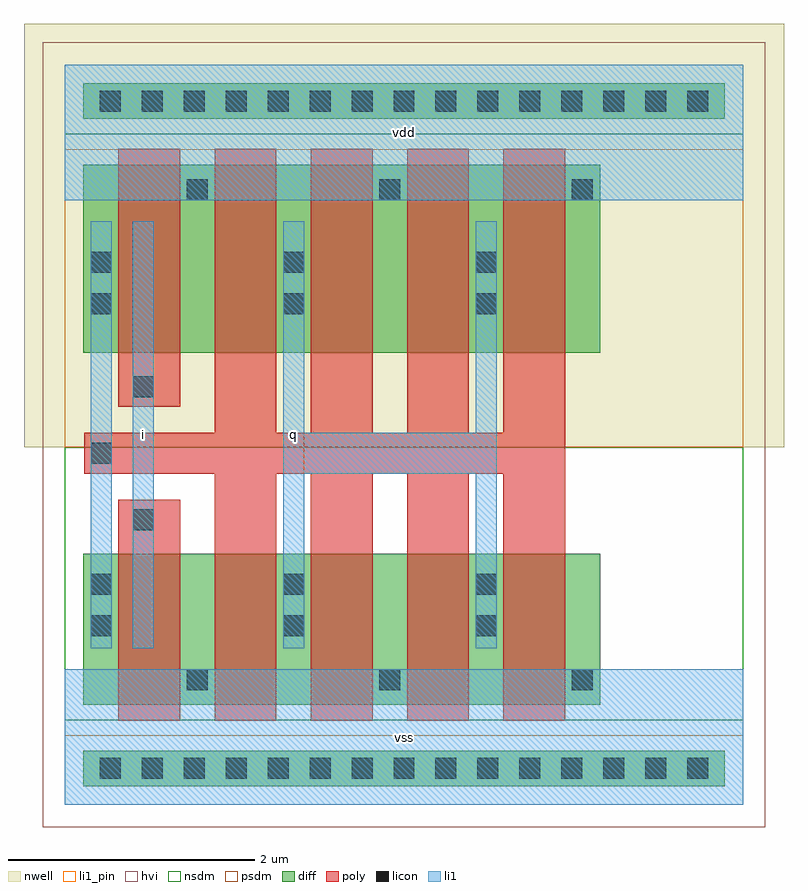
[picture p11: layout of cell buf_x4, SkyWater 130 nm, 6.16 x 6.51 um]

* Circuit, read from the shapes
.subckt buf_x4 i q vdd vss
XM1 vss i n1 VSUBS sky130_fd_pr__nfet_g5v0d10v5 w=1.225 l=0.5
XM2 q n1 vss VSUBS sky130_fd_pr__nfet_g5v0d10v5 w=1.225 l=0.5 m=4
XM3 vdd i n1 n2 sky130_fd_pr__pfet_g5v0d10v5 w=1.525 l=0.5
XM4 q n1 vdd n2 sky130_fd_pr__pfet_g5v0d10v5 w=1.525 l=0.5 m=4
.ends

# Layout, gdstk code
import gdstk
lib = gdstk.Library(unit=1e-6, precision=1e-09)
def R(c, l, rs):  # rectangles x0, y0, x1, y1
    for r in rs: c.add(gdstk.rectangle(r[:2], r[2:], *l))
def A(c, l, x, y, w, h, nx, ny, dx, dy):  # array of equal rectangles
    R(c, l, [(x+i*dx, y+j*dy, x+i*dx+w, y+j*dy+h) for i in range(nx) for j in range(ny)])
def P(c, l, *ps):  # polygons
    for p in ps: c.add(gdstk.Polygon(p, *l))
nwell = (64, 20)
diff = (65, 20)
poly = (66, 20)
licon = (66, 44)
li1_pin = (67, 16)
li1 = (67, 20)
hvi = (75, 20)
nsdm = (93, 44)
psdm = (94, 20)

buf_x4 = lib.new_cell('buf_x4')
R(buf_x4, nwell, [(-0.33,2.9,5.83,6.33)])
R(buf_x4, diff, [(0.15,0.15,5.35,0.44), (0.15,0.81,4.34,2.035), (0.15,3.665,4.34,5.19), (0.15,5.56,5.35,5.85)])
R(buf_x4, poly, [(0.435,0.68,0.935,2.475), (0.435,3.225,0.935,5.32)])
P(buf_x4, poly, [(1.215,0.68),(1.215,2.685),(0.16,2.685),(0.16,3.015),(1.215,3.015),(1.215,5.32),(1.715,5.32),(1.715,3.015),(1.995,3.015),(1.995,5.32),(2.495,5.32),(2.495,3.015),(2.775,3.015),(2.775,5.32),(3.275,5.32),(3.275,3.015),(3.555,3.015),(3.555,5.32),(4.055,5.32),(4.055,0.68),(3.555,0.68),(3.555,2.685),(3.275,2.685),(3.275,0.68),(2.775,0.68),(2.775,2.685),(2.495,2.685),(2.495,0.68),(1.995,0.68),(1.995,2.685),(1.715,2.685),(1.715,0.68)])
A(buf_x4, licon, 0.285, 0.21, 0.17, 0.17, 15, 2, 0.34, 5.41)
A(buf_x4, licon, 0.99, 0.93, 0.17, 0.17, 3, 2, 1.56, 3.97)
A(buf_x4, licon, 0.21, 1.365, 0.17, 0.17, 3, 2, 1.56, 0.34)
A(buf_x4, licon, 0.21, 3.975, 0.17, 0.17, 3, 2, 1.56, 0.34)
R(buf_x4, licon, [(0.55,2.225,0.72,2.395), (0.21,2.765,0.38,2.935), (0.55,3.305,0.72,3.475)])
R(buf_x4, li1_pin, [(0,0,5.5,1.1), (0.55,1.27,0.72,4.73), (1.77,1.27,1.94,4.73), (0,4.9,5.5,6)])
R(buf_x4, li1, [(0,0,5.5,1.1), (0.21,1.27,0.38,4.73), (0.55,1.27,0.72,4.73), (0,4.9,5.5,6)])
P(buf_x4, li1, [(1.77,1.27),(1.77,4.73),(1.94,4.73),(1.94,3.015),(3.33,3.015),(3.33,4.73),(3.5,4.73),(3.5,1.27),(3.33,1.27),(3.33,2.685),(1.94,2.685),(1.94,1.27)])
R(buf_x4, hvi, [(-0.18,-0.18,5.68,6.18)])
R(buf_x4, nsdm, [(0,0.685,5.5,2.9), (0,5.435,5.5,6)])
R(buf_x4, psdm, [(0,0,5.5,0.565), (0,2.9,5.5,5.315)])
buf_x4.add(gdstk.Label('vdd', (2.75,5.45), layer=67, texttype=16))
buf_x4.add(gdstk.Label('vss', (2.75,0.55), layer=67, texttype=16))
buf_x4.add(gdstk.Label('i', (0.635,3), layer=67, texttype=16))
buf_x4.add(gdstk.Label('q', (1.855,3), layer=67, texttype=16))

lib.write_gds('buf_x4.gds')
